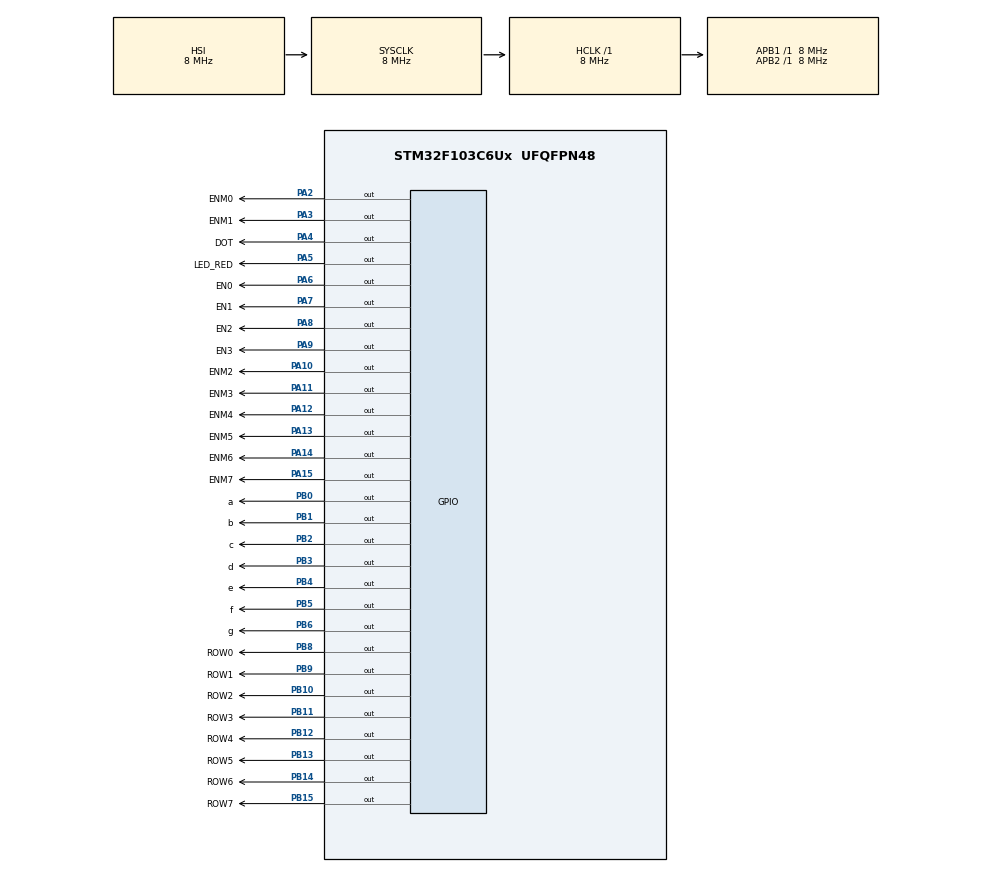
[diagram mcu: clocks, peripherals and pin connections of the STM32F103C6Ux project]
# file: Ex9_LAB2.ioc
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Mcu.Family=STM32F1
Mcu.Name=STM32F103C6Ux
Mcu.Package=UFQFPN48
NVIC.PriorityGroup=NVIC_PRIORITYGROUP_4
NVIC.TIM2_IRQn=true\:0\:0\:false\:false\:true\:true\:true
PA10.GPIO_Label=ENM2
PA10.Signal=GPIO_Output
PA11.GPIO_Label=ENM3
PA11.Signal=GPIO_Output
PA12.GPIO_Label=ENM4
PA12.Signal=GPIO_Output
PA13.GPIO_Label=ENM5
PA13.Signal=GPIO_Output
PA14.GPIO_Label=ENM6
PA14.Signal=GPIO_Output
PA15.GPIO_Label=ENM7
PA15.Signal=GPIO_Output
PA2.GPIO_Label=ENM0
PA2.Signal=GPIO_Output
PA3.GPIO_Label=ENM1
PA3.Signal=GPIO_Output
PA4.GPIO_Label=DOT
PA4.PinState=GPIO_PIN_SET
PA4.Signal=GPIO_Output
PA5.GPIO_Label=LED_RED
PA5.Signal=GPIO_Output
PA6.GPIO_Label=EN0
PA6.Signal=GPIO_Output
PA7.GPIO_Label=EN1
PA7.Signal=GPIO_Output
PA8.GPIO_Label=EN2
PA8.Signal=GPIO_Output
PA9.GPIO_Label=EN3
PA9.Signal=GPIO_Output
PB0.GPIO_Label=a
PB0.Signal=GPIO_Output
PB1.GPIO_Label=b
PB1.Signal=GPIO_Output
PB10.GPIO_Label=ROW2
PB10.Signal=GPIO_Output
PB11.GPIO_Label=ROW3
PB11.Signal=GPIO_Output
PB12.GPIO_Label=ROW4
PB12.Signal=GPIO_Output
PB13.GPIO_Label=ROW5
PB13.Signal=GPIO_Output
PB14.GPIO_Label=ROW6
PB14.Signal=GPIO_Output
PB15.GPIO_Label=ROW7
PB15.Signal=GPIO_Output
PB2.GPIO_Label=c
PB2.Signal=GPIO_Output
PB3.GPIO_Label=d
PB3.Signal=GPIO_Output
PB4.GPIO_Label=e
PB4.Signal=GPIO_Output
PB5.GPIO_Label=f
PB5.Signal=GPIO_Output
PB6.GPIO_Label=g
PB6.Signal=GPIO_Output
PB8.GPIO_Label=ROW0
PB8.Signal=GPIO_Output
PB9.GPIO_Label=ROW1
PB9.Signal=GPIO_Output
ProjectManager.HeapSize=0x200
ProjectManager.StackSize=0x400
ProjectManager.TargetToolchain=STM32CubeIDE
RCC.AHBFreq_Value=8000000
RCC.APB1Freq_Value=8000000
RCC.APB1TimFreq_Value=8000000
RCC.APB2Freq_Value=8000000
RCC.APB2TimFreq_Value=8000000
RCC.HCLKFreq_Value=8000000
RCC.SYSCLKFreq_VALUE=8000000
RCC.USBFreq_Value=8000000
TIM2.Period=9
TIM2.Prescaler=1599
VP_SYS_VS_ND.Mode=No_Debug
VP_TIM2_VS_ClockSourceINT.Mode=Internal
board=custom

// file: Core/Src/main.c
/* USER CODE BEGIN Header */
/**
  ******************************************************************************
  * @file           : main.c
  * @brief          : Main program body
  ******************************************************************************
  * @attention
  *
  * <h2><center>&copy; Copyright (c) 2022 STMicroelectronics.
  * All rights reserved.</center></h2>
  *
  * This software component is licensed by ST under BSD 3-Clause license,
  * the "License"; You may not use this file except in compliance with the
  * License. You may obtain a copy of the License at:
  *                        opensource.org/licenses/BSD-3-Clause
  *
  ******************************************************************************
  */
/* USER CODE END Header */
#include "main.h"

/* USER CODE BEGIN Includes */
#include "software_timer.h"
/* USER CODE END Includes */

TIM_HandleTypeDef htim2;

void SystemClock_Config(void);
static void MX_GPIO_Init(void);
static void MX_TIM2_Init(void);

/* USER CODE BEGIN 0 */
const int MAX_LED_MATRIX = 8;
const int MAX_SHIFT = 14;
static int index_led_matrix = 0;
static int state = 0;

//Ex9
//static uint8_t rowBuffer[8] = {0x00,0xfc,0x32,0x33,0x33,0x32,0xfc,0x00};
//static uint8_t colBuffer[8] = {0x00,0x02,0x04,0x08,0x10,0x20,0x40,0x00};
//
//void displayRow (int num){
//	  HAL_GPIO_WritePin(ROW0_GPIO_Port,ROW0_Pin, ((rowBuffer[num]>>0)&0x01));
//	  HAL_GPIO_WritePin(ROW1_GPIO_Port,ROW1_Pin, ((rowBuffer[num]>>1)&0x01));
//	  HAL_GPIO_WritePin(ROW2_GPIO_Port,ROW2_Pin, ((rowBuffer[num]>>2)&0x01));
//	  HAL_GPIO_WritePin(ROW3_GPIO_Port,ROW3_Pin, ((rowBuffer[num]>>3)&0x01));
//	  HAL_GPIO_WritePin(ROW4_GPIO_Port,ROW4_Pin, ((rowBuffer[num]>>4)&0x01));
//	  HAL_GPIO_WritePin(ROW5_GPIO_Port,ROW5_Pin, ((rowBuffer[num]>>5)&0x01));
//	  HAL_GPIO_WritePin(ROW6_GPIO_Port,ROW6_Pin, ((rowBuffer[num]>>6)&0x01));
//	  HAL_GPIO_WritePin(ROW7_GPIO_Port,ROW7_Pin, ((rowBuffer[num]>>7)&0x01));
//}
//
//void displayCol (int num){
//	  HAL_GPIO_WritePin(ENM0_GPIO_Port, ENM0_Pin, ((colBuffer[num]>>0)&0x01));
//	  HAL_GPIO_WritePin(ENM1_GPIO_Port, ENM1_Pin, ((colBuffer[num]>>1)&0x01));
//	  HAL_GPIO_WritePin(ENM2_GPIO_Port, ENM2_Pin, ((colBuffer[num]>>2)&0x01));
//	  HAL_GPIO_WritePin(ENM3_GPIO_Port, ENM3_Pin, ((colBuffer[num]>>3)&0x01));
//	  HAL_GPIO_WritePin(ENM4_GPIO_Port, ENM4_Pin, ((colBuffer[num]>>4)&0x01));
//	  HAL_GPIO_WritePin(ENM5_GPIO_Port, ENM5_Pin, ((colBuffer[num]>>5)&0x01));
//	  HAL_GPIO_WritePin(ENM6_GPIO_Port, ENM6_Pin, ((colBuffer[num]>>6)&0x01));
//	  HAL_GPIO_WritePin(ENM7_GPIO_Port, ENM7_Pin, ((colBuffer[num]>>7)&0x01));
//}
//
//void updateLedMatrix(int num){
//	displayCol(num);
//	displayRow(num);
//}

//Ex10
static uint8_t rowBuffer[14][8] = {
{0x00,0xfc,0x32,0x33,0x33,0x32,0xfc,0x00},
{0xfc,0x32,0x33,0x33,0x32,0xfc,0x00,0x00},
{0x32,0x33,0x33,0x32,0xfc,0x00,0x00,0x00},
{0x33,0x33,0x32,0xfc,0x00,0x00,0x00,0x00},
{0x33,0x32,0xfc,0x00,0x00,0x00,0x00,0x00},
{0x32,0xfc,0x00,0x00,0x00,0x00,0x00,0x00},
{0xfc,0x00,0x00,0x00,0x00,0x00,0x00,0x00},
{0x00,0x00,0x00,0x00,0x00,0x00,0x00,0xfc},
{0x00,0x00,0x00,0x00,0x00,0x00,0xfc,0x32},
{0x00,0x00,0x00,0x00,0x00,0xfc,0x32,0x33},
{0x00,0x00,0x00,0x00,0xfc,0x32,0x33,0x33},
{0x00,0x00,0x00,0xfc,0x32,0x33,0x33,0x32},
{0x00,0x00,0xfc,0x32,0x33,0x33,0x32,0xfc},
{0x00,0xfc,0x32,0x33,0x33,0x32,0xfc,0x00}};

static uint8_t colBuffer[14][8] = {
{0x00,0x02,0x04,0x08,0x10,0x20,0x40,0x00},
{0x04,0x08,0x10,0x20,0x40,0x80,0x00,0x00},
{0x08,0x10,0x20,0x40,0x80,0x00,0x00,0x00},
{0x10,0x20,0x40,0x80,0x00,0x00,0x00,0x00},
{0x20,0x40,0x80,0x00,0x00,0x00,0x00,0x00},
{0x20,0x40,0x00,0x00,0x00,0x00,0x00,0x00},
{0x80,0x00,0x00,0x00,0x00,0x00,0x00,0x00},
{0x00,0x00,0x00,0x00,0x00,0x00,0x00,0x01},
{0x00,0x00,0x00,0x00,0x00,0x00,0x01,0x02},
{0x00,0x00,0x00,0x00,0x00,0x01,0x02,0x04},
{0x00,0x00,0x00,0x00,0x01,0x02,0x04,0x08},
{0x00,0x00,0x00,0x01,0x02,0x04,0x8,0x10},
{0x00,0x00,0x01,0x02,0x04,0x8,0x10,0x20},
{0x00,0x02,0x04,0x08,0x10,0x20,0x40,0x00}};

void displayRow (int state, int num){
	  HAL_GPIO_WritePin(ROW0_GPIO_Port,ROW0_Pin, ((rowBuffer[state][num]>>0)&0x01));
	  HAL_GPIO_WritePin(ROW1_GPIO_Port,ROW1_Pin, ((rowBuffer[state][num]>>1)&0x01));
	  HAL_GPIO_WritePin(ROW2_GPIO_Port,ROW2_Pin, ((rowBuffer[state][num]>>2)&0x01));
	  HAL_GPIO_WritePin(ROW3_GPIO_Port,ROW3_Pin, ((rowBuffer[state][num]>>3)&0x01));
	  HAL_GPIO_WritePin(ROW4_GPIO_Port,ROW4_Pin, ((rowBuffer[state][num]>>4)&0x01));
	  HAL_GPIO_WritePin(ROW5_GPIO_Port,ROW5_Pin, ((rowBuffer[state][num]>>5)&0x01));
	  HAL_GPIO_WritePin(ROW6_GPIO_Port,ROW6_Pin, ((rowBuffer[state][num]>>6)&0x01));
	  HAL_GPIO_WritePin(ROW7_GPIO_Port,ROW7_Pin, ((rowBuffer[state][num]>>7)&0x01));
}

void displayCol (int state, int num){
	  HAL_GPIO_WritePin(ENM0_GPIO_Port, ENM0_Pin, ((colBuffer[state][num]>>0)&0x01));
	  HAL_GPIO_WritePin(ENM1_GPIO_Port, ENM1_Pin, ((colBuffer[state][num]>>1)&0x01));
	  HAL_GPIO_WritePin(ENM2_GPIO_Port, ENM2_Pin, ((colBuffer[state][num]>>2)&0x01));
	  HAL_GPIO_WritePin(ENM3_GPIO_Port, ENM3_Pin, ((colBuffer[state][num]>>3)&0x01));
	  HAL_GPIO_WritePin(ENM4_GPIO_Port, ENM4_Pin, ((colBuffer[state][num]>>4)&0x01));
	  HAL_GPIO_WritePin(ENM5_GPIO_Port, ENM5_Pin, ((colBuffer[state][num]>>5)&0x01));
	  HAL_GPIO_WritePin(ENM6_GPIO_Port, ENM6_Pin, ((colBuffer[state][num]>>6)&0x01));
	  HAL_GPIO_WritePin(ENM7_GPIO_Port, ENM7_Pin, ((colBuffer[state][num]>>7)&0x01));
}

void updateLedMatrix(int state, int num){
	displayCol(state, num);
	displayRow(state, num);
}

// Since the interrupt are now invoked every 2ms
const int setCounterDot = 500; //To obtain 1s timer
const int setCounter = 250;   // To obtain 0.5s timer
const int MAX_LED = 4;

static uint8_t led_buffer[4] = {0, 0, 0, 0};
static uint8_t index_led = 0;
void updateClockBuffer(int hr, int min){
	led_buffer[0] = hr/10;
	led_buffer[1] = hr%10;
	led_buffer[2] = min/10;
	led_buffer[3] = min%10;
}

//Transfer sequence: gfedcba
//MSB=g, LSB=a <- Active low
//Ex: To display 0 -> sequence = 1000000
const uint8_t sevenSegTable[10] = {
		  0x40 //0
		, 0x79 //1
		, 0x24 //2
		, 0x30 //3
		, 0x19 //4
		, 0x12 //5
		, 0x02 //6
		, 0x78 //7
		, 0x00 //8
		, 0x10 /*9*/};

void display7SEG (int num){
	HAL_GPIO_WritePin(GPIOB, GPIO_PIN_0, ((sevenSegTable[num]>>0)&0x01));
	HAL_GPIO_WritePin(GPIOB, GPIO_PIN_1, ((sevenSegTable[num]>>1)&0x01));
	HAL_GPIO_WritePin(GPIOB, GPIO_PIN_2, ((sevenSegTable[num]>>2)&0x01));
	HAL_GPIO_WritePin(GPIOB, GPIO_PIN_3, ((sevenSegTable[num]>>3)&0x01));
	HAL_GPIO_WritePin(GPIOB, GPIO_PIN_4, ((sevenSegTable[num]>>4)&0x01));
	HAL_GPIO_WritePin(GPIOB, GPIO_PIN_5, ((sevenSegTable[num]>>5)&0x01));
	HAL_GPIO_WritePin(GPIOB, GPIO_PIN_6, ((sevenSegTable[num]>>6)&0x01));
}

void update7SEG (int index){
	switch (index){
		case 0:
			HAL_GPIO_WritePin(EN0_GPIO_Port, EN0_Pin, RESET);
			HAL_GPIO_WritePin(EN1_GPIO_Port, EN1_Pin, SET);
			HAL_GPIO_WritePin(EN2_GPIO_Port, EN2_Pin, SET);
			HAL_GPIO_WritePin(EN3_GPIO_Port, EN3_Pin, SET);
			break;
		case 1:
			HAL_GPIO_WritePin(EN0_GPIO_Port, EN0_Pin, SET);
			HAL_GPIO_WritePin(EN1_GPIO_Port, EN1_Pin, RESET);
			HAL_GPIO_WritePin(EN2_GPIO_Port, EN2_Pin, SET);
			HAL_GPIO_WritePin(EN3_GPIO_Port, EN3_Pin, SET);
			break;
		case 2:
			HAL_GPIO_WritePin(EN0_GPIO_Port, EN0_Pin, SET);
			HAL_GPIO_WritePin(EN1_GPIO_Port, EN1_Pin, SET);
			HAL_GPIO_WritePin(EN2_GPIO_Port, EN2_Pin, RESET);
			HAL_GPIO_WritePin(EN3_GPIO_Port, EN3_Pin, SET);
			break;
		case 3:
			HAL_GPIO_WritePin(EN0_GPIO_Port, EN0_Pin, SET);
			HAL_GPIO_WritePin(EN1_GPIO_Port, EN1_Pin, SET);
			HAL_GPIO_WritePin(EN2_GPIO_Port, EN2_Pin, SET);
			HAL_GPIO_WritePin(EN3_GPIO_Port, EN3_Pin, RESET);
			break;
		default:
			break;
	}
	display7SEG(led_buffer[index]);
}

/* USER CODE END 0 */

int main(void)
{

  /* MCU Configuration--------------------------------------------------------*/

  /* Reset of all peripherals, Initializes the Flash interface and the Systick. */
  HAL_Init();

  /* Configure the system clock */
  SystemClock_Config();

  /* Initialize all configured peripherals */
  MX_GPIO_Init();
  MX_TIM2_Init();
  /* USER CODE BEGIN 2 */
  HAL_TIM_Base_Start_IT (& htim2 );
  /* USER CODE END 2 */

  /* Infinite loop */
  /* USER CODE BEGIN WHILE */
  int hr = 21, min=31, sec = 56;
  updateClockBuffer(hr, min);
  setTimer1(1);
  setTimer2(setCounterDot);
  setTimer3(setCounter);
  setTimer4(setCounterDot);
  while (1)
  {
	  if (timer1_flag == 1){
		  updateLedMatrix(state, index_led_matrix);
		  index_led_matrix = (index_led_matrix+1);
		  if (index_led_matrix == MAX_LED_MATRIX){
			  index_led_matrix = 0;
			  state = state + 1;
			  if (state == MAX_SHIFT)
				  state = 0;
		  }
		  setTimer1(1);
	  }

	if (timer2_flag == 1){
		sec++;
		if (sec >= 60){sec = 0; min++;}
		if (min >= 60){min = 0; hr++;}
		if (hr >= 24) {hr = 0;}
		updateClockBuffer(hr, min);
		setTimer2(setCounterDot);
	}

	if (timer3_flag == 1){
		HAL_GPIO_TogglePin(LED_RED_GPIO_Port, LED_RED_Pin);
		update7SEG(index_led);
		index_led = (index_led + 1) % MAX_LED;
		setTimer3(setCounter);
	}

	if (timer4_flag == 1){
		HAL_GPIO_TogglePin(DOT_GPIO_Port,DOT_Pin);
		setTimer4(setCounterDot);
	}
    /* USER CODE END WHILE */

  }
}

void SystemClock_Config(void)
{
  RCC_OscInitTypeDef RCC_OscInitStruct = {0};
  RCC_ClkInitTypeDef RCC_ClkInitStruct = {0};

  /** Initializes the RCC Oscillators according to the specified parameters
  * in the RCC_OscInitTypeDef structure.
  */
  RCC_OscInitStruct.OscillatorType = RCC_OSCILLATORTYPE_HSI;
  RCC_OscInitStruct.HSIState = RCC_HSI_ON;
  RCC_OscInitStruct.HSICalibrationValue = RCC_HSICALIBRATION_DEFAULT;
  RCC_OscInitStruct.PLL.PLLState = RCC_PLL_NONE;
  if (HAL_RCC_OscConfig(&RCC_OscInitStruct) != HAL_OK)
  {
    Error_Handler();
  }
  /** Initializes the CPU, AHB and APB buses clocks
  */
  RCC_ClkInitStruct.ClockType = RCC_CLOCKTYPE_HCLK|RCC_CLOCKTYPE_SYSCLK
                              |RCC_CLOCKTYPE_PCLK1|RCC_CLOCKTYPE_PCLK2;
  RCC_ClkInitStruct.SYSCLKSource = RCC_SYSCLKSOURCE_HSI;
  RCC_ClkInitStruct.AHBCLKDivider = RCC_SYSCLK_DIV1;
  RCC_ClkInitStruct.APB1CLKDivider = RCC_HCLK_DIV1;
  RCC_ClkInitStruct.APB2CLKDivider = RCC_HCLK_DIV1;

  if (HAL_RCC_ClockConfig(&RCC_ClkInitStruct, FLASH_LATENCY_0) != HAL_OK)
  {
    Error_Handler();
  }
}

static void MX_TIM2_Init(void)
{

  TIM_ClockConfigTypeDef sClockSourceConfig = {0};
  TIM_MasterConfigTypeDef sMasterConfig = {0};

  htim2.Instance = TIM2;
  htim2.Init.Prescaler = 1599;
  htim2.Init.CounterMode = TIM_COUNTERMODE_UP;
  htim2.Init.Period = 9;
  htim2.Init.ClockDivision = TIM_CLOCKDIVISION_DIV1;
  htim2.Init.AutoReloadPreload = TIM_AUTORELOAD_PRELOAD_DISABLE;
  if (HAL_TIM_Base_Init(&htim2) != HAL_OK)
  {
    Error_Handler();
  }
  sClockSourceConfig.ClockSource = TIM_CLOCKSOURCE_INTERNAL;
  if (HAL_TIM_ConfigClockSource(&htim2, &sClockSourceConfig) != HAL_OK)
  {
    Error_Handler();
  }
  sMasterConfig.MasterOutputTrigger = TIM_TRGO_RESET;
  sMasterConfig.MasterSlaveMode = TIM_MASTERSLAVEMODE_DISABLE;
  if (HAL_TIMEx_MasterConfigSynchronization(&htim2, &sMasterConfig) != HAL_OK)
  {
    Error_Handler();
  }

}

static void MX_GPIO_Init(void)
{
  GPIO_InitTypeDef GPIO_InitStruct = {0};

  /* GPIO Ports Clock Enable */
  __HAL_RCC_GPIOA_CLK_ENABLE();
  __HAL_RCC_GPIOB_CLK_ENABLE();

  /*Configure GPIO pin Output Level */
  HAL_GPIO_WritePin(GPIOA, ENM0_Pin|ENM1_Pin|LED_RED_Pin|EN0_Pin
                          |EN1_Pin|EN2_Pin|EN3_Pin|ENM2_Pin
                          |ENM3_Pin|ENM4_Pin|ENM5_Pin|ENM6_Pin
                          |ENM7_Pin, GPIO_PIN_RESET);

  /*Configure GPIO pin Output Level */
  HAL_GPIO_WritePin(DOT_GPIO_Port, DOT_Pin, GPIO_PIN_SET);

  /*Configure GPIO pin Output Level */
  HAL_GPIO_WritePin(GPIOB, a_Pin|b_Pin|c_Pin|ROW2_Pin
                          |ROW3_Pin|ROW4_Pin|ROW5_Pin|ROW6_Pin
                          |ROW7_Pin|d_Pin|e_Pin|f_Pin
                          |g_Pin|ROW0_Pin|ROW1_Pin, GPIO_PIN_RESET);

  /*Configure GPIO pins : ENM0_Pin ENM1_Pin DOT_Pin LED_RED_Pin
                           EN0_Pin EN1_Pin EN2_Pin EN3_Pin
                           ENM2_Pin ENM3_Pin ENM4_Pin ENM5_Pin
                           ENM6_Pin ENM7_Pin */
  GPIO_InitStruct.Pin = ENM0_Pin|ENM1_Pin|DOT_Pin|LED_RED_Pin
                          |EN0_Pin|EN1_Pin|EN2_Pin|EN3_Pin
                          |ENM2_Pin|ENM3_Pin|ENM4_Pin|ENM5_Pin
                          |ENM6_Pin|ENM7_Pin;
  GPIO_InitStruct.Mode = GPIO_MODE_OUTPUT_PP;
  GPIO_InitStruct.Pull = GPIO_NOPULL;
  GPIO_InitStruct.Speed = GPIO_SPEED_FREQ_LOW;
  HAL_GPIO_Init(GPIOA, &GPIO_InitStruct);

  /*Configure GPIO pins : a_Pin b_Pin c_Pin ROW2_Pin
                           ROW3_Pin ROW4_Pin ROW5_Pin ROW6_Pin
                           ROW7_Pin d_Pin e_Pin f_Pin
                           g_Pin ROW0_Pin ROW1_Pin */
  GPIO_InitStruct.Pin = a_Pin|b_Pin|c_Pin|ROW2_Pin
                          |ROW3_Pin|ROW4_Pin|ROW5_Pin|ROW6_Pin
                          |ROW7_Pin|d_Pin|e_Pin|f_Pin
                          |g_Pin|ROW0_Pin|ROW1_Pin;
  GPIO_InitStruct.Mode = GPIO_MODE_OUTPUT_PP;
  GPIO_InitStruct.Pull = GPIO_NOPULL;
  GPIO_InitStruct.Speed = GPIO_SPEED_FREQ_LOW;
  HAL_GPIO_Init(GPIOB, &GPIO_InitStruct);

}

/* USER CODE BEGIN 4 */

void HAL_TIM_PeriodElapsedCallback ( TIM_HandleTypeDef * htim )
{
	timerRun();
}
/* USER CODE END 4 */

void Error_Handler(void)
{
  __disable_irq();
  while (1)
  {
  }
}

/************************ (C) COPYRIGHT STMicroelectronics *****END OF FILE****/
